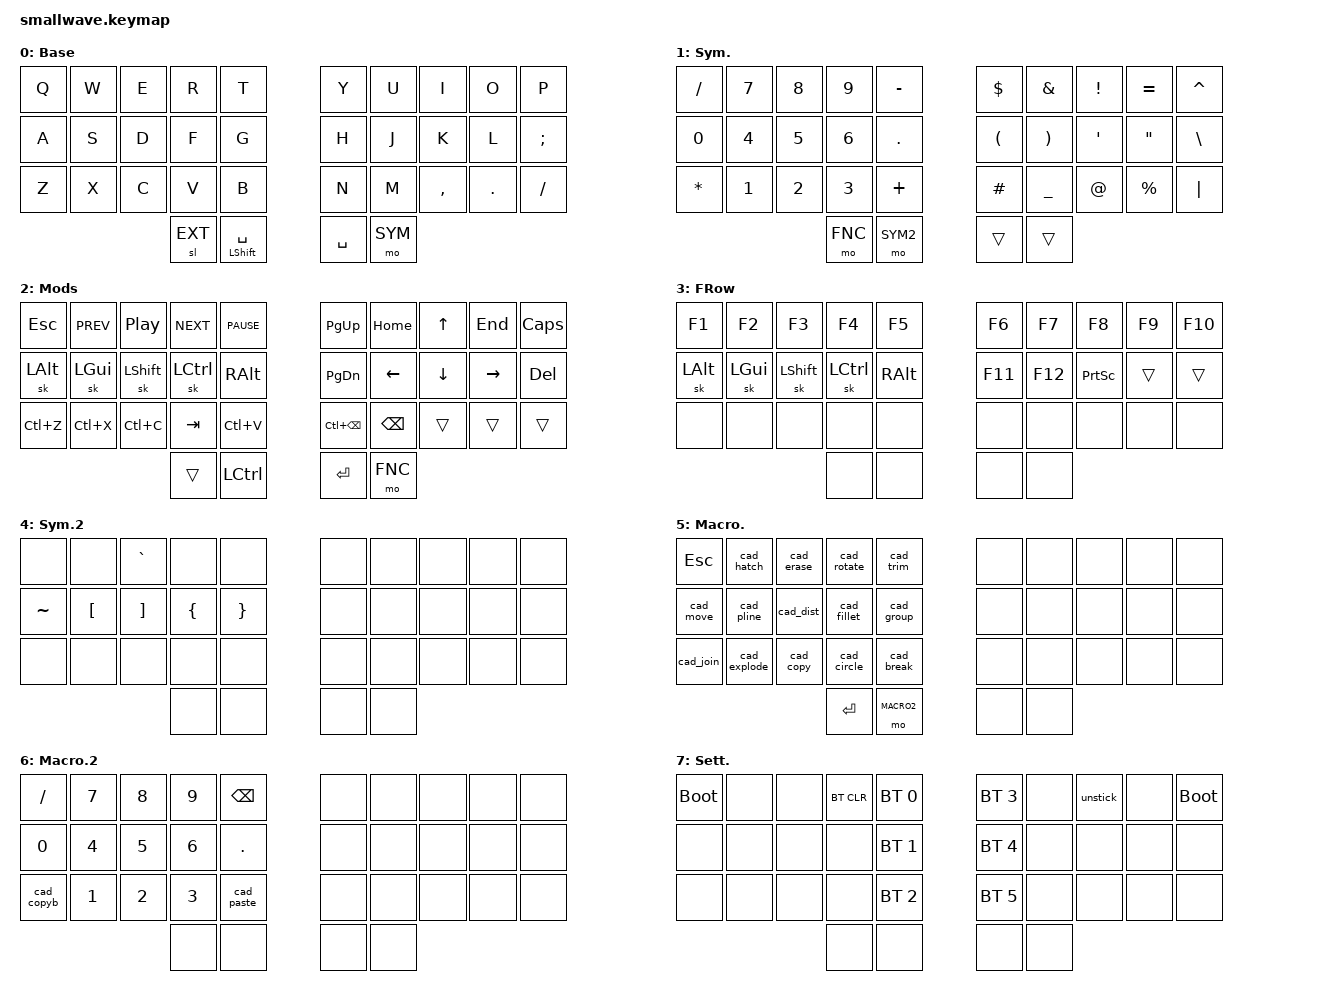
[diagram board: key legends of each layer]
/*
 * Copyright (c) 2020 duckyb
 *
 * SPDX-License-Identifier: MIT
 */

#include <behaviors.dtsi>
#include <dt-bindings/zmk/keys.h>
#include <dt-bindings/zmk/bt.h>
#include <dt-bindings/zmk/outputs.h>

// Layer definitions
#define BASE 0
#define SYM 1
#define EXT 2
#define FNC 3
#define SYM2 4
#define MACRO 5
#define MACRO2 6
#define SETTINGS 7
// -----------------

&sk {
	// don't release mods on other mods presses
	ignore-modifiers;
};


/ {
	behaviors {
		// Enables holding the first mod-tap key
		// by performing a tap-release-hold sequence.
		// To use it: "&qt KEYCODE1 KEYCODE2"
		qt: quick_tap {
			compatible = "zmk,behavior-hold-tap";
			label = "QUICK_TAP";
			#binding-cells = <2>;
			flavor = "hold-preferred";
			tapping-term-ms = <200>;
			quick-tap-ms = <200>;
			bindings = <&kp>, <&kp>;
		};
	};

	macros {
		// sometimes my device thinks a modifier is being held down
		// pressing all modifiers fixes it.
		unstick: unstick {
			label = "ZM_unstick";
			compatible = "zmk,behavior-macro";
			#binding-cells = <0>;
			bindings = <&kp LSHIFT &kp RSHIFT &kp LCTRL &kp RCTRL &kp LALT &kp RALT &kp LGUI &kp RGUI>;
		};
		// Defining the macros for the Macro and Macro2 layers
		// Currently using CAD software commands.
		cad_hatch: cad_hatch {
			label = "CAD_hatch";
			compatible = "zmk,behavior-macro";
			#binding-cells = <0>;
			bindings
			= <&macro_tap &kp H &kp A &kp ENTER>;
		};
		cad_erase: cad_erase {
			label = "CAD_erase";
			compatible = "zmk,behavior-macro";
			#binding-cells = <0>;
			bindings
			= <&macro_tap &kp E &kp ENTER>;
		};
		cad_rotate: cad_rotate {
			label = "CAD_rotate";
			compatible = "zmk,behavior-macro";
			#binding-cells = <0>;
			bindings
			= <&macro_tap &kp R &kp O &kp ENTER>;
		};
		cad_trim: cad_trim {
			label = "CAD_trim";
			compatible = "zmk,behavior-macro";
			#binding-cells = <0>;
			bindings
			= <&macro_tap &kp T &kp R &kp ENTER>;
		};
		cad_move: cad_move {
			label = "CAD_move";
			compatible = "zmk,behavior-macro";
			#binding-cells = <0>;
			bindings
			= <&macro_tap &kp M &kp O &kp ENTER>;
		};
		cad_pline: cad_pline {
			label = "CAD_pline";
			compatible = "zmk,behavior-macro";
			#binding-cells = <0>;
			bindings
			= <&macro_tap &kp P &kp L &kp ENTER>;
		};
		cad_dist: cad_dist {
			label = "CAD_dist";
			compatible = "zmk,behavior-macro";
			#binding-cells = <0>;
			bindings
			= <&macro_tap &kp D &kp I &kp S &kp T &kp ENTER>;
		};
		cad_fillet: cad_fillet {
			label = "CAD_fillet";
			compatible = "zmk,behavior-macro";
			#binding-cells = <0>;
			bindings
			= <&macro_tap &kp F &kp ENTER>;
		};
		cad_group: cad_group {
			label = "CAD_group";
			compatible = "zmk,behavior-macro";
			#binding-cells = <0>;
			bindings
			= <&macro_tap &kp G &kp ENTER>;
		};
		cad_join: cad_join {
			label = "CAD_join";
			compatible = "zmk,behavior-macro";
			#binding-cells = <0>;
			bindings
			= <&macro_tap &kp J &kp ENTER>;
		};
		cad_explode: cad_explode {
			label = "CAD_explode";
			compatible = "zmk,behavior-macro";
			#binding-cells = <0>;
			bindings
			= <&macro_tap &kp X &kp X &kp ENTER>;
		};
		cad_copy: cad_copy {
			label = "CAD_copy";
			compatible = "zmk,behavior-macro";
			#binding-cells = <0>;
			bindings
			= <&macro_tap &kp C &kp O &kp ENTER>;
		};
		cad_circle: cad_circle {
			label = "CAD_circle";
			compatible = "zmk,behavior-macro";
			#binding-cells = <0>;
			bindings
			= <&macro_tap &kp C &kp ENTER>;
		};
		cad_break: cad_break {
			label = "CAD_break";
			compatible = "zmk,behavior-macro";
			#binding-cells = <0>;
			bindings
			= <&macro_tap &kp B &kp R &kp ENTER>;
		};
// Unused CAD commands
//		cad_offset: cad_offset {
//			label = "CAD_offset";
//			compatible = "zmk,behavior-macro";
//			#binding-cells = <0>;
//			bindings
//			= <&macro_tap &kp O &kp ENTER>;
//		};
//		cad_mirror: cad_mirror {
//			label = "CAD_mirror";
//			compatible = "zmk,behavior-macro";
//			#binding-cells = <0>;
//			bindings
//			= <&macro_tap &kp M &kp I &kp R &kp ENTER>;
//		};
//		cad_revc: cad_revc {
//			label = "CAD_revc";
//			compatible = "zmk,behavior-macro";
//			#binding-cells = <0>;
//			bindings
//			= <&macro_tap &kp R &kp E &kp V &kp C &kp ENTER>;
//		};
//		cad_rect: cad_rect {
//			label = "CAD_rect";
//			compatible = "zmk,behavior-macro";
//			#binding-cells = <0>;
//			bindings
//			= <&macro_tap &kp R &kp E &kp C &kp T &kp ENTER>;
//		};
//		cad_tori: cad_tori {
//			label = "CAD_tori";
//			compatible = "zmk,behavior-macro";
//			#binding-cells = <0>;
//			bindings
//			= <&macro_tap &kp T &kp O &kp R &kp I &kp ENTER>;
//		};
//		cad_array: cad_array {
//			label = "CAD_array";
//			compatible = "zmk,behavior-macro";
//			#binding-cells = <0>;
//			bindings
//			= <&macro_tap &kp A &kp R &kp R &kp A &kp Y &kp ENTER>;
//		};
//		cad_scale: cad_scale {
//			label = "CAD_scale";
//			compatible = "zmk,behavior-macro";
//			#binding-cells = <0>;
//			bindings
//			= <&macro_tap &kp S &kp C &kp ENTER>;
//		};
//		cad_measure: cad_measure {
//			label = "CAD_measure";
//			compatible = "zmk,behavior-macro";
//			#binding-cells = <0>;
//			bindings
//			= <&macro_tap &kp M &kp E &kp A &kp ENTER>;
//		};
//		cad_frz: cad_frz {
//			label = "CAD_frz";
//			compatible = "zmk,behavior-macro";
//			#binding-cells = <0>;
//			bindings
//			= <&macro_tap &kp F &kp R &kp Z &kp ENTER>;
//		};
//		cad_ugroup: cad_ugroup {
//			label = "CAD_ugroup";
//			compatible = "zmk,behavior-macro";
//			#binding-cells = <0>;
//			bindings
//			= <&macro_tap &kp U &kp N &kp G &kp ENTER>;
//		};
//		cad_save: cad_save {
//			label = "CAD_save";
//			compatible = "zmk,behavior-macro";
//			#binding-cells = <0>;
//			bindings
//			= <&macro_tap &kp S &kp ENTER>;
//		};
//		cad_match: cad_match {
//			label = "CAD_match";
//			compatible = "zmk,behavior-macro";
//			#binding-cells = <0>;
//			bindings
//			= <&macro_tap &kp M &kp A &kp ENTER>;
//		};
//		cad_ptbreak: cad_ptbreak {
//			label = "CAD_ptbreak";
//			compatible = "zmk,behavior-macro";
//			#binding-cells = <0>;
//			bindings
//			= <&macro_tap &kp B &kp R &kp E &kp A &kp K &kp A &kp T &kp P &kp O &kp I &kp N &kp T &kp ENTER>;
//		};
		cad_copyb: cad_copyb {
			label = "CAD_copyb";
			compatible = "zmk,behavior-macro";
			#binding-cells = <0>;
			bindings
			= <&macro_tap &kp C &kp O &kp P &kp Y &kp B &kp ENTER>;
		};
		cad_paste: cad_paste {
			label = "CAD_paste";
			compatible = "zmk,behavior-macro";
			#binding-cells = <0>;
			bindings
			= <&macro_tap &kp P &kp A &kp S &kp T &kp ENTER>;
		};
	};

	combos {
		compatible = "zmk,combos";
		// both right thumb keys
		combo_settings {
			timeout-ms = <200>;
			key-positions = <32 33>;
			bindings = <&mo SETTINGS>;
		};
		// internal-left & external-right thumb keys
		combo_sym2 {
			timeout-ms = <200>;
			key-positions = <31 33>;
			bindings = <&mo SYM2>;
		};
		// both left thumb keys
		combo_macro {
			timeout-ms = <200>;
			key-positions = <30 31>;
			bindings = <&tog MACRO>;
		};
	};

	keymap {
		compatible = "zmk,keymap";
	// Base alpha layer
		default_layer {
			label = "Base";
			bindings = <
			&kp Q &kp W &kp E &kp R &kp T           &kp Y &kp U  &kp I     &kp O   &kp P 
			&kp A &kp S &kp D &kp F &kp G           &kp H &kp J  &kp K     &kp L &kp SEMICOLON
			&kp Z &kp X &kp C &kp V &kp B           &kp N &kp M  &kp COMMA &kp DOT &kp SLASH
				&sl EXT &qt LSHIFT SPACE           &kp SPACE &mo SYM
			>;
		};

	// Numbers and high frequency symbols
		sym_layer {
			label = "Sym.";
			bindings = <
			&kp SLASH &kp N7 &kp N8 &kp N9 &kp MINUS	&kp DOLLAR &kp AMPS &kp EXCL &kp EQUAL &kp CARET
			&kp N0 &kp N4 &kp N5 &kp N6 &kp DOT		&kp LPAR &kp RPAR &kp SQT &kp DQT &kp BSLH
			&kp ASTERISK &kp N1 &kp N2 &kp N3 &kp PLUS 	&kp HASH &kp UNDER &kp AT &kp PERCENT &kp PIPE
						&mo FNC  &mo SYM2       &trans &trans
			>;
		};

	// Main modifiers and arrow keys
		ext_layer {
			label = "Mods";
			bindings = <
			&kp ESC  &kp C_PREV &kp C_PP  &kp C_NEXT  &kp C_PAUSE		&kp PG_UP &kp HOME &kp UP &kp END &kp CAPS
			&sk LALT &sk LGUI  &sk LSHIFT  &sk LCTRL  &kp RALT 		&kp PG_DN &kp LEFT &kp DOWN &kp RIGHT &kp DEL
			&kp LC(Z)  &kp LC(X) &kp LC(C) &kp TAB   &kp LC(V)		&kp LC(BSPC) &kp BSPC &trans &trans &trans
							&trans &kp LCTRL    		&kp ENTER &mo FNC 
			>;
		};

  	// Function keys with modifiers
		fnc_layer {
			label = "FRow";
			bindings = <
			&kp F1 &kp F2 &kp F3 &kp F4 &kp F5                  &kp F6 &kp F7 &kp F8 &kp F9 &kp F10 
			&sk LALT &sk LGUI &sk LSHIFT &sk LCTRL &kp RALT     &kp F11 &kp F12  &kp PRINTSCREEN &trans &trans
			&none &none &none &none &none			    &none &none &none &none &none 
							  &none &none       &none &none  
			>;
		};

	// Low frequency symbols.
		symbols_2_layer {
			label = "Sym.2";
			bindings = <
			&none &none &kp GRAVE &none &none			&none &none &none &none &none 
			&kp TILDE &kp LBKT &kp RBKT &kp LBRC &kp RBRC    	&none &none &none &none &none
			&none &none &none &none &none				&none &none &none &none &none
							&none &none     	&none &none 
			>;
		};

	// Macro layer is currently being used to type CAD software commands.
		macro_layer {
			label = "Macro.";
			bindings = <
			&kp ESCAPE &cad_hatch &cad_erase &cad_rotate &cad_trim		&none &none &none &none &none 
			&cad_move &cad_pline &cad_dist &cad_fillet &cad_group		&none &none &none &none &none
			&cad_join &cad_explode &cad_copy &cad_circle &cad_break		&none &none &none &none &none
					  		&kp ENTER &mo MACRO2     	&none &none 
			>;
		};

	// Low frequency macros for CAD and number pad.
		macro_2_layer {
			label = "Macro.2";
			bindings = <
			&kp SLASH &kp N7 &kp N8 &kp N9 &kp BSPC		&none &none &none &none &none 
			&kp N0 &kp N4 &kp N5 &kp N6 &kp DOT		&none &none &none &none &none
			&cad_copyb &kp N1 &kp N2 &kp N3 &cad_paste	&none &none &none &none &none
					 	 	&none &none     &none &none 
			>;
		};

	// Used to change the keyboard's settings.
		settings_layer {
				label = "Sett.";
				bindings = <
				&bootloader &none &none &bt BT_CLR &bt BT_SEL 0		&bt BT_SEL 3 &none &unstick &none &bootloader 
				&none &none &none &none      &bt BT_SEL 1 		&bt BT_SEL 4 &none &none &none &none
				&none &none &none &none      &bt BT_SEL 2               &bt BT_SEL 5 &none &none &none &none
								&none &none             &none &none 
				>;
		};
	};
};
